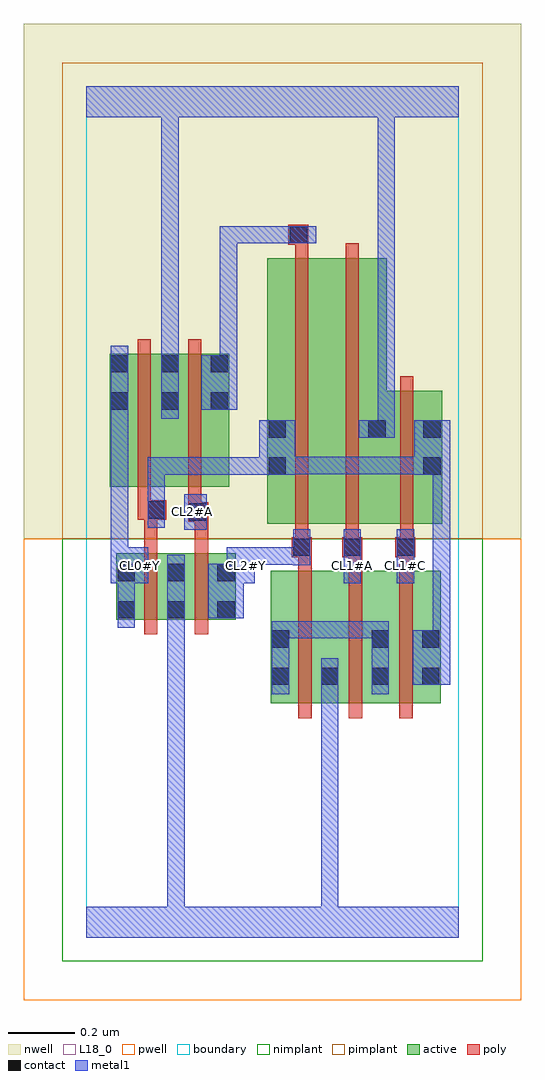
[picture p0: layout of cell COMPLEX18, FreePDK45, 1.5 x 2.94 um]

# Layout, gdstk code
import gdstk
lib = gdstk.Library(unit=1e-6, precision=1e-09)
def R(c, l, rs):  # rectangles x0, y0, x1, y1
    for r in rs: c.add(gdstk.rectangle(r[:2], r[2:], *l))
def A(c, l, x, y, w, h, nx, ny, dx, dy):  # array of equal rectangles
    R(c, l, [(x+i*dx, y+j*dy, x+i*dx+w, y+j*dy+h) for i in range(nx) for j in range(ny)])
active = (1, 0)
pwell = (2, 0)
nwell = (3, 0)
nimplant = (4, 0)
pimplant = (5, 0)
poly = (9, 0)
contact = (10, 0)
metal1 = (11, 0)
L18_0 = (18, 0)
boundary = (235, 0)

complex18 = lib.new_cell('COMPLEX18')
R(complex18, active, [(0.554,0.704,0.762,1.104), (0.554,0.704,0.614,1.104), (0.702,0.704,0.914,1.104), (0.854,0.704,1.066,1.104), (0.702,0.756,0.762,0.816), (0.854,0.756,0.914,0.928), (1.006,0.756,1.066,1.104), (0.09,0.956,0.15,1.156), (0.09,0.956,0.3,1.156), (0.24,0.956,0.3,1.128), (0.24,0.956,0.45,1.156), (0.39,0.956,0.45,1.156), (0.544,1.244,0.724,2.044), (0.544,1.244,0.604,2.044), (0.724,1.244,0.904,2.044), (0.844,1.244,1.07,1.644), (1.01,1.244,1.07,1.644), (0.07,1.356,0.282,1.756), (0.07,1.356,0.13,1.756), (0.222,1.356,0.43,1.756), (0.37,1.356,0.43,1.756), (0.222,1.498,0.282,1.756), (0.844,1.5,0.904,1.644)])
R(complex18, pwell, [(-0.188,-0.188,1.308,1.2)])
R(complex18, nwell, [(-0.188,1.2,1.308,2.748)])
R(complex18, nimplant, [(-0.072,-0.072,1.192,1.2)])
R(complex18, pimplant, [(-0.072,1.2,1.192,2.632)])
A(complex18, poly, 0.638, 0.66, 0.04, 0.488, 3, 1, 0.152, 0)
A(complex18, poly, 0.638, 1.108, 0.04, 0.076, 3, 1, 0.152, 0)
R(complex18, poly, [(0.174,0.912,0.214,1.2), (0.326,0.912,0.366,1.2), (0.618,1.144,0.678,1.204), (0.77,1.144,0.83,1.204), (0.79,1.144,0.83,1.184), (0.79,1.144,0.83,1.184), (0.93,1.144,0.99,1.204), (0.174,1.16,0.214,1.296), (0.326,1.16,0.366,1.29), (0.628,1.164,0.668,1.24), (0.628,1.164,0.668,1.204), (0.628,1.164,0.668,1.204), (0.78,1.164,0.82,1.24), (0.944,1.164,0.984,1.24), (0.944,1.164,0.984,1.204), (0.944,1.164,0.984,1.204), (0.628,1.2,0.668,2.088), (0.78,1.2,0.82,2.088), (0.944,1.2,0.984,1.688), (0.306,1.25,0.366,1.31), (0.326,1.25,0.366,1.29), (0.326,1.25,0.366,1.29), (0.154,1.256,0.24,1.316), (0.174,1.256,0.214,1.296), (0.174,1.256,0.214,1.296), (0.306,1.27,0.346,1.352), (0.154,1.276,0.194,1.352), (0.154,1.312,0.194,1.8), (0.306,1.312,0.346,1.8), (0.628,2.048,0.668,2.124), (0.608,2.084,0.668,2.144)])
A(complex18, contact, 0.706, 0.76, 0.052, 0.052, 3, 1, 0.152, 0)
A(complex18, contact, 0.094, 0.96, 0.052, 0.052, 3, 2, 0.15, 0.112)
R(complex18, contact, [(0.558,0.76,0.61,0.812), (0.558,0.872,0.61,0.924), (0.858,0.872,0.91,0.924), (1.01,0.872,1.062,0.924), (0.622,1.148,0.674,1.2), (0.774,1.148,0.826,1.2), (0.934,1.148,0.986,1.2), (0.31,1.254,0.362,1.306), (0.184,1.26,0.236,1.312), (0.548,1.392,0.6,1.444), (1.014,1.392,1.066,1.444), (0.548,1.504,0.6,1.556), (0.848,1.504,0.9,1.556), (1.014,1.504,1.066,1.556), (0.074,1.588,0.126,1.64), (0.226,1.588,0.278,1.64), (0.374,1.588,0.426,1.64), (0.074,1.7,0.126,1.752), (0.226,1.7,0.278,1.752), (0.374,1.7,0.426,1.752), (0.612,2.088,0.664,2.14)])
R(complex18, metal1, [(0,0,1.12,0.092), (0.244,0.04,0.296,0.092), (0.244,0.04,0.296,0.092), (0.244,0.04,0.296,0.092), (0.244,0.04,0.296,0.092), (0.244,0.04,0.296,0.092), (0.244,0.04,0.296,0.092), (0.244,0.04,0.296,0.092), (0.244,0.04,0.296,0.092), (0.244,0.04,0.296,0.092), (0.244,0.04,0.296,0.092), (0.244,0.04,0.296,0.092), (0.244,0.04,0.296,0.092), (0.244,0.04,0.296,0.092), (0.244,0.04,0.296,0.092), (0.244,0.04,0.296,0.092), (0.244,0.04,0.296,0.092), (0.244,0.04,0.296,0.984), (0.706,0.04,0.758,0.092), (0.706,0.04,0.758,0.092), (0.706,0.04,0.758,0.092), (0.706,0.04,0.758,0.092), (0.706,0.04,0.758,0.092), (0.706,0.04,0.758,0.092), (0.706,0.04,0.758,0.092), (0.706,0.04,0.758,0.092), (0.706,0.04,0.758,0.092), (0.706,0.04,0.758,0.092), (0.706,0.04,0.758,0.092), (0.706,0.04,0.758,0.092), (0.706,0.04,0.758,0.784), (0.558,0.732,0.61,0.952), (0.706,0.732,0.758,0.84), (0.858,0.732,0.91,0.952), (0.982,0.76,1.094,0.924), (1.042,0.872,1.094,1.444), (0.558,0.9,0.616,0.952), (0.564,0.9,0.616,0.952), (0.564,0.9,0.746,0.952), (0.694,0.9,0.746,0.952), (0.694,0.9,0.746,0.952), (0.694,0.9,0.746,0.952), (0.694,0.9,0.91,0.952), (0.094,0.932,0.146,1.152), (0.244,0.932,0.296,1.152), (0.366,0.96,0.474,1.124), (0.074,1.066,0.186,1.174), (0.422,1.066,0.474,1.118), (0.422,1.066,0.506,1.174), (0.774,1.066,0.826,1.228), (0.934,1.066,0.986,1.228), (0.094,1.1,0.146,1.152), (0.622,1.12,0.674,1.228), (0.074,1.122,0.126,1.174), (0.074,1.122,0.126,1.174), (0.074,1.122,0.126,1.612), (0.454,1.122,0.506,1.174), (0.454,1.122,0.506,1.174), (0.454,1.122,0.674,1.174), (0.294,1.226,0.362,1.334), (0.184,1.232,0.236,1.34), (0.184,1.288,0.236,1.34), (0.184,1.288,0.236,1.34), (0.184,1.288,0.236,1.444), (0.184,1.392,0.236,1.444), (0.184,1.392,0.396,1.444), (0.344,1.392,0.396,1.444), (0.344,1.392,0.396,1.444), (0.344,1.392,0.396,1.444), (0.344,1.392,0.572,1.444), (0.52,1.392,0.628,1.556), (0.986,1.392,1.094,1.556), (1.042,1.392,1.094,1.444), (1.042,1.392,1.094,1.444), (1.042,1.392,1.094,1.444), (1.042,1.392,1.094,1.444), (0.576,1.394,0.628,1.446), (0.576,1.394,0.628,1.446), (0.576,1.394,0.746,1.446), (0.694,1.394,0.746,1.446), (0.694,1.394,0.746,1.446), (0.694,1.394,0.746,1.446), (0.694,1.394,0.924,1.446), (0.872,1.394,0.924,1.446), (0.872,1.394,1.038,1.446), (0.986,1.394,1.038,1.446), (0.986,1.394,1.038,1.446), (0.82,1.504,0.928,1.556), (0.876,1.504,0.928,1.556), (0.876,1.504,0.928,1.556), (0.876,1.504,0.928,2.52), (0.074,1.56,0.126,1.78), (0.226,1.56,0.278,1.78), (0.346,1.588,0.454,1.752), (0.402,1.7,0.454,1.752), (0.402,1.7,0.454,1.752), (0.402,1.7,0.454,1.752), (0.402,1.7,0.454,1.752), (0.402,1.7,0.454,2.14), (0.226,1.728,0.278,2.52), (0.402,2.088,0.454,2.14), (0.402,2.088,0.454,2.14), (0.402,2.088,0.454,2.14), (0.402,2.088,0.636,2.14), (0.584,2.088,0.636,2.14), (0.584,2.088,0.636,2.14), (0.584,2.088,0.636,2.14), (0.584,2.088,0.636,2.14), (0.584,2.088,0.692,2.14), (0,2.468,1.12,2.56), (0.226,2.468,0.278,2.52), (0.226,2.468,0.278,2.52), (0.226,2.468,0.278,2.52), (0.226,2.468,0.278,2.52), (0.226,2.468,0.278,2.52), (0.226,2.468,0.278,2.52), (0.226,2.468,0.278,2.52), (0.226,2.468,0.278,2.52), (0.226,2.468,0.278,2.52), (0.226,2.468,0.278,2.52), (0.226,2.468,0.278,2.52), (0.226,2.468,0.278,2.52), (0.226,2.468,0.278,2.52), (0.226,2.468,0.278,2.52), (0.226,2.468,0.278,2.52), (0.226,2.468,0.278,2.52), (0.876,2.468,0.928,2.52), (0.876,2.468,0.928,2.52), (0.876,2.468,0.928,2.52), (0.876,2.468,0.928,2.52), (0.876,2.468,0.928,2.52), (0.876,2.468,0.928,2.52)])
A(complex18, L18_0, 0.134, 1.094, 0.052, 0.052, 3, 1, 0.32, 0)
R(complex18, L18_0, [(0,0,1.12,0.092), (0.244,0.04,0.296,0.092), (0.244,0.04,0.296,0.092), (0.244,0.04,0.296,0.092), (0.244,0.04,0.296,0.092), (0.244,0.04,0.296,0.092), (0.244,0.04,0.296,0.092), (0.244,0.04,0.296,0.092), (0.244,0.04,0.296,0.092), (0.244,0.04,0.296,0.092), (0.244,0.04,0.296,0.092), (0.244,0.04,0.296,0.092), (0.244,0.04,0.296,0.092), (0.244,0.04,0.296,0.092), (0.244,0.04,0.296,0.092), (0.244,0.04,0.296,0.092), (0.244,0.04,0.296,0.092), (0.244,0.04,0.296,0.984), (0.706,0.04,0.758,0.092), (0.706,0.04,0.758,0.092), (0.706,0.04,0.758,0.092), (0.706,0.04,0.758,0.092), (0.706,0.04,0.758,0.092), (0.706,0.04,0.758,0.092), (0.706,0.04,0.758,0.092), (0.706,0.04,0.758,0.092), (0.706,0.04,0.758,0.092), (0.706,0.04,0.758,0.092), (0.706,0.04,0.758,0.092), (0.706,0.04,0.758,0.092), (0.706,0.04,0.758,0.784), (0.706,0.732,0.758,0.84), (0.094,0.932,0.146,1.152), (0.244,0.932,0.296,1.152), (0.366,0.96,0.474,1.124), (0.074,1.066,0.186,1.174), (0.422,1.066,0.474,1.118), (0.422,1.066,0.506,1.174), (0.774,1.066,0.826,1.228), (0.934,1.066,0.986,1.228), (0.934,1.094,0.986,1.146), (0.094,1.1,0.146,1.152), (0.622,1.12,0.674,1.228), (0.074,1.122,0.126,1.174), (0.074,1.122,0.126,1.174), (0.074,1.122,0.126,1.612), (0.454,1.122,0.506,1.174), (0.454,1.122,0.506,1.174), (0.454,1.122,0.674,1.174), (0.294,1.226,0.362,1.334), (0.294,1.254,0.346,1.306), (0.82,1.504,0.928,1.556), (0.876,1.504,0.928,1.556), (0.876,1.504,0.928,1.556), (0.876,1.504,0.928,2.52), (0.074,1.56,0.126,1.78), (0.226,1.56,0.278,1.78), (0.346,1.588,0.454,1.752), (0.402,1.7,0.454,1.752), (0.402,1.7,0.454,1.752), (0.402,1.7,0.454,1.752), (0.402,1.7,0.454,1.752), (0.402,1.7,0.454,2.14), (0.226,1.728,0.278,2.52), (0.402,2.088,0.454,2.14), (0.402,2.088,0.454,2.14), (0.402,2.088,0.454,2.14), (0.402,2.088,0.636,2.14), (0.584,2.088,0.636,2.14), (0.584,2.088,0.636,2.14), (0.584,2.088,0.636,2.14), (0.584,2.088,0.636,2.14), (0.584,2.088,0.692,2.14), (0,2.468,1.12,2.56), (0.226,2.468,0.278,2.52), (0.226,2.468,0.278,2.52), (0.226,2.468,0.278,2.52), (0.226,2.468,0.278,2.52), (0.226,2.468,0.278,2.52), (0.226,2.468,0.278,2.52), (0.226,2.468,0.278,2.52), (0.226,2.468,0.278,2.52), (0.226,2.468,0.278,2.52), (0.226,2.468,0.278,2.52), (0.226,2.468,0.278,2.52), (0.226,2.468,0.278,2.52), (0.226,2.468,0.278,2.52), (0.226,2.468,0.278,2.52), (0.226,2.468,0.278,2.52), (0.226,2.468,0.278,2.52), (0.876,2.468,0.928,2.52), (0.876,2.468,0.928,2.52), (0.876,2.468,0.928,2.52), (0.876,2.468,0.928,2.52), (0.876,2.468,0.928,2.52), (0.876,2.468,0.928,2.52)])
R(complex18, boundary, [(0,0,1.12,2.56)])
complex18.add(gdstk.Label('CL0#Y', (0.16,1.12), layer=11, texttype=0))
complex18.add(gdstk.Label('CL1#A', (0.8,1.12), layer=11, texttype=0))
complex18.add(gdstk.Label('CL1#C', (0.96,1.12), layer=11, texttype=0))
complex18.add(gdstk.Label('CL2#A', (0.32,1.28), layer=11, texttype=0))
complex18.add(gdstk.Label('CL2#Y', (0.48,1.12), layer=11, texttype=0))

lib.write_gds('COMPLEX18.gds')
